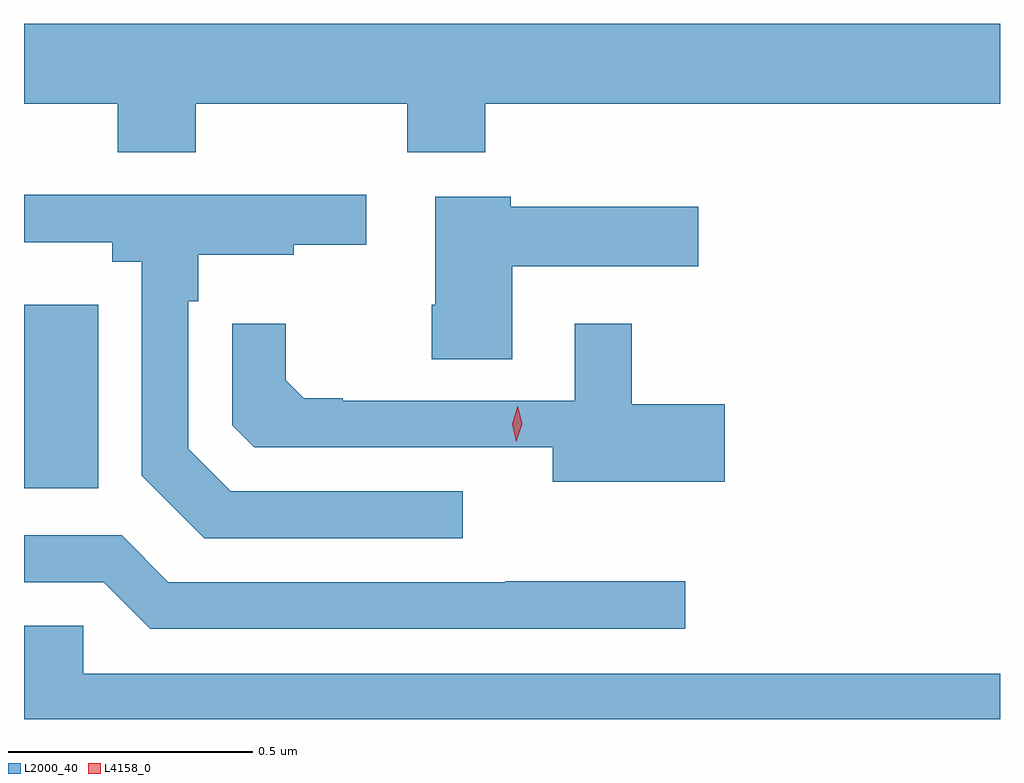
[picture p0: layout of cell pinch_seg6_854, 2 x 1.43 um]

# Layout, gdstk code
import gdstk
lib = gdstk.Library(unit=1e-6, precision=1e-09)
def R(c, l, rs):  # rectangles x0, y0, x1, y1
    for r in rs: c.add(gdstk.rectangle(r[:2], r[2:], *l))
def P(c, l, *ps):  # polygons
    for p in ps: c.add(gdstk.Polygon(p, *l))
L2000_40 = (2000, 40)
L4158_0 = (4158, 0)

pinch_seg6_854 = lib.new_cell('pinch_seg6_854')
R(pinch_seg6_854, L2000_40, [(149.849,957.204,150.001,957.58)])
P(pinch_seg6_854, L2000_40, [(150.201,957.992),(150.634,957.992),(150.634,957.893),(150.794,957.893),(150.794,957.992),(151.849,957.992),(151.849,958.156),(149.849,958.156),(149.849,957.992),(150.041,957.992),(150.041,957.893),(150.201,957.893)],
  [(150.748,957.198),(150.273,957.198),(150.186,957.285),(150.186,957.587),(150.206,957.587),(150.206,957.683),(150.402,957.683),(150.402,957.703),(150.55,957.703),(150.55,957.806),(149.849,957.806),(149.849,957.708),(150.03,957.708),(150.03,957.668),(150.09,957.668),(150.09,957.23),(150.218,957.102),(150.748,957.102)],
  [(150.85,957.659),(151.231,957.659),(151.231,957.781),(150.846,957.781),(150.846,957.802),(150.692,957.802),(150.692,957.58),(150.685,957.58),(150.685,957.469),(150.85,957.469)],
  [(151.285,957.376),(151.094,957.376),(151.094,957.541),(150.978,957.541),(150.978,957.384),(150.502,957.384),(150.502,957.389),(150.422,957.389),(150.385,957.426),(150.385,957.541),(150.276,957.541),(150.276,957.333),(150.321,957.288),(150.932,957.288),(150.932,957.218),(151.285,957.218)],
  [(151.204,957.014),(150.835,957.014),(150.835,957.012),(150.145,957.012),(150.049,957.108),(149.849,957.108),(149.849,957.012),(150.012,957.012),(150.108,956.916),(151.204,956.916)],
  [(151.849,956.824),(149.97,956.824),(149.97,956.922),(149.849,956.922),(149.849,956.731),(151.849,956.731)])
P(pinch_seg6_854, L4158_0, [(150.858,957.3),(150.858,957.3),(150.85,957.336),(150.861,957.372),(150.861,957.372),(150.861,957.372),(150.87,957.336),(150.858,957.3)])

lib.write_gds('pinch_seg6_854.gds')
